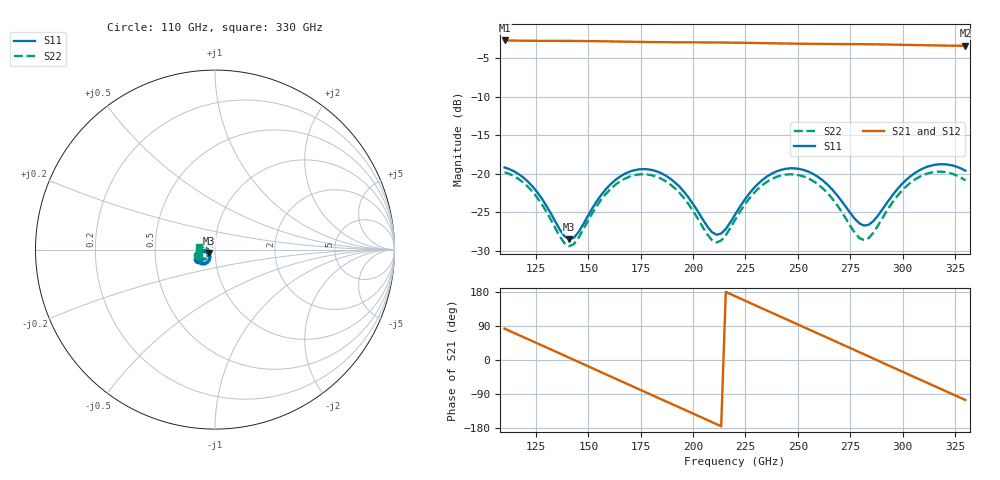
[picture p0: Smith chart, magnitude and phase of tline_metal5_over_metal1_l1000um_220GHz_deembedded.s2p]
! Created with skrf 2.0.1 (http://scikit-rf.org).
# GHz S DB R 50.0
!freq dBS11 angS11 dBS21 angS21 dBS12 angS12 dBS22 angS22
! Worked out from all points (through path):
!   101 points, 110 GHz to 330 GHz, reference 50 ohm
!   highest |S21| = -2.72 dB at 110 GHz (marker M1); lowest = -3.4 dB at 330 GHz (marker M2)
!   group delay of S21, straight-line fit = 6.93 ps
!   lowest |S11| = -28.5 dB at 140.8 GHz (marker M3), VSWR 1.08, Z = 46.8 - j1.8 ohm
!   |S11| at or under -10 dB: start of sweep to end of sweep
!   |S22| runs from -29.4 to -19.7 dB; largest |S21 - S12| = 8.3e-14
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110  -19.19 -151.8  -2.72 82.7  -2.72 82.7  -19.80 -161.3
127.6  -23.15 -175.5  -2.76 39.0  -2.76 39.0  -23.88 173.4
140.8  -28.49 -149.3  -2.78 6.1  -2.78 6.1  -29.39 -159.7
147.4  -26.62 -124.1  -2.79 -10.4  -2.79 -10.4  -27.30 -134.6
156.2  -22.72 -119.8  -2.82 -32.4  -2.82 -32.4  -23.32 -131.8
167.2  -20.03 -132.8  -2.87 -59.9  -2.87 -59.9  -20.66 -146.3
176  -19.40 -146.7  -2.91 -81.8  -2.91 -81.8  -20.06 -161.2
184.8  -19.93 -160.4  -2.94 -103.6  -2.94 -103.6  -20.64 -176.0
195.8  -22.38 -173.0  -2.96 -130.9  -2.96 -130.9  -23.21 170.3
209  -27.57 -157.6  -2.97 -163.9  -2.97 -163.9  -28.61 -173.9
213.4  -27.76 -139.3  -2.98 -174.9  -2.98 -174.9  -28.66 -154.9
220  -25.31 -121.4  -3.00 168.6  -3.00 168.6  -25.99 -138.2
228.8  -21.92 -121.0  -3.04 146.6  -3.04 146.6  -22.57 -139.7
239.8  -19.70 -133.9  -3.09 119.1  -3.09 119.1  -20.41 -154.6
248.6  -19.30 -146.8  -3.13 97.3  -3.13 97.3  -20.10 -168.9
257.4  -20.03 -159.1  -3.16 75.4  -3.16 75.4  -20.96 177.3
268.4  -22.67 -168.1  -3.18 48.0  -3.18 48.0  -23.93 166.5
281.6  -26.72 -145.4  -3.20 15.1  -3.20 15.1  -28.60 -166.9
294.8  -22.92 -118.1  -3.25 -18.0  -3.25 -18.0  -23.86 -139.8
312.4  -19.03 -133.6  -3.34 -61.9  -3.34 -61.9  -19.93 -160.7
321.2  -18.80 -145.8  -3.38 -83.7  -3.38 -83.7  -19.82 -175.3
330  -19.60 -156.9  -3.41 -105.5  -3.41 -105.5  -20.87 171.0
